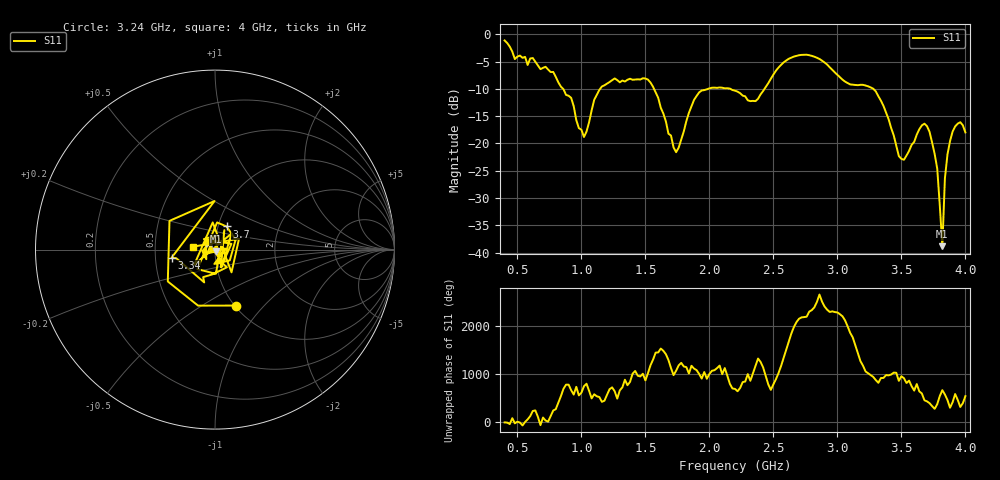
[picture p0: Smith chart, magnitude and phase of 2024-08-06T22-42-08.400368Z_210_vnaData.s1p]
!Created with skrf (http://scikit-rf.org).
# Hz S RI R 50.0
!freq ReS11 ImS11
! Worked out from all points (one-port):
!   181 points, 400 MHz to 4 GHz, reference 50 ohm
!   lowest |S11| = -38.8 dB at 3.82 GHz (marker M1), VSWR 1.02, Z = 50.5 - j1.03 ohm
!   |S11| at or under -10 dB: 857.3 MHz to 1.146 GHz (288.9 MHz wide, 28.8 % of centre); 1.567 GHz to 1.99 GHz (422.4 MHz wide, 23.7 % of centre); 3.281 GHz to end of sweep (the widest 3 of 4)
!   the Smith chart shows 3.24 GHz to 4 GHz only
!   S11 on the Smith chart (normalised r, x): 3.24 GHz: 1.02, -0.71; 3.34 GHz: 0.61, -0.06; 3.7 GHz: 1.10, +0.29; 4 GHz: 0.78, +0.02
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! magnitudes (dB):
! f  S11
! 400 MHz  -1.1
! 480 MHz  -4.5
! 620 MHz  -4.4
! 860 MHz  -10.1
! 920 MHz  -11.7
! 1.02 GHz  -18.8
! 1.14 GHz  -10.2
! 1.3 GHz  -8.8
! 1.52 GHz  -8.3
! 1.72 GHz  -20.7
! 1.76 GHz  -20.8
! 1.92 GHz  -10.6
! 2.2 GHz  -10.3
! 2.36 GHz  -12.2
! 2.66 GHz  -4.1
! 2.86 GHz  -4.5
! 3.1 GHz  -9.2
! 3.24 GHz  -9.5
! 3.34 GHz  -12.2
! 3.48 GHz  -22.3
! 3.56 GHz  -21.4
! 3.7 GHz  -16.8
! 3.78 GHz  -24.6
! 3.82 GHz  -38.8
! 3.84 GHz  -26.4
! 3.88 GHz  -19.6
! 3.96 GHz  -16.1
! 4 GHz  -18.0
